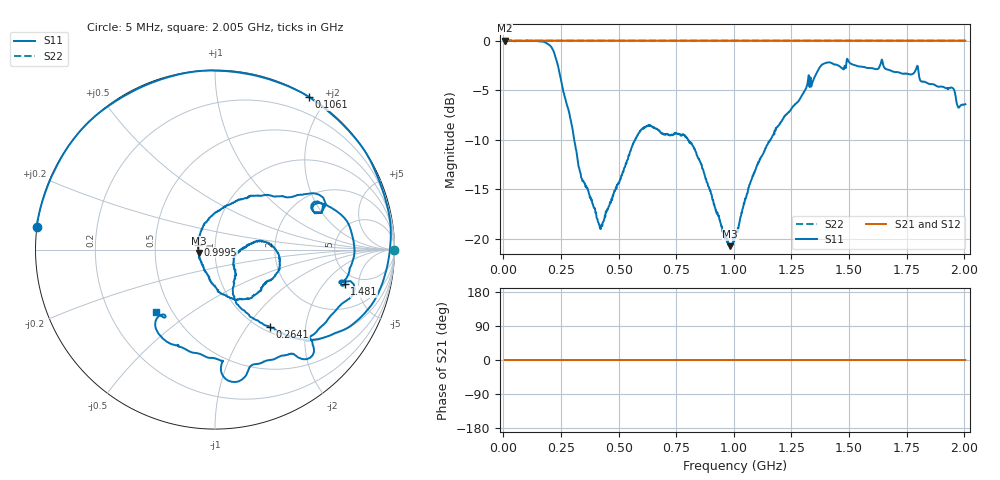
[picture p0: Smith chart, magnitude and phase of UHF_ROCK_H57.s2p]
!Keysight Technologies N9923A: A.08.09
!Date: Wednesday, 01 August 2018 08:10:12
!Timezone: (GMT+08:00) Kuala Lumpur, Singapore
!Model: N9923A
!Serial: MY52412143
!GPS Latitude:
!GPS Longitude:
!GPS TimeStamp: 0001-01-01 00:00:00Z
!GPS Seconds Since Last Read: 0
!CHECKSUM:1050662376
!Correction: S11(ON U)S21()S12()S22()
!S2P File: Measurements:S11,S21,S12,S22:
# Hz S DB R 50
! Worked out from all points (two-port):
!   2000 points, 5 MHz to 2.005 GHz, reference 50 ohm
!   highest |S21| = 0.00 dB at 5 MHz (marker M1); lowest = 0.0 dB at 5 MHz (marker M2)
!   |S21| within 3 dB of the highest: start of sweep to end of sweep
!   lowest |S11| = -20.7 dB at 983.5 MHz (marker M3), VSWR 1.20, Z = 41.7 - j1.55 ohm
!   |S11| at or under -10 dB: 307 MHz to 571.4 MHz (264.3 MHz wide, 60.2 % of centre); 801 MHz to 1.159 GHz (358.1 MHz wide, 36.5 % of centre)
!   |S22| runs from 0.0 to 0.0 dB; largest |S21 - S12| = 0
!   S11 on the Smith chart (normalised r, x): 5 MHz: -0.00, +0.06; 106.1 MHz: 0.00, +1.79; 264.1 MHz: 1.08, -1.30; 999.5 MHz: 0.83, +0.05; 1.481 GHz: 3.91, -3.36; 2.005 GHz: 0.41, -0.37
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5000000  0.02 172.8  0.00 0.0  0.00 0.0  0.00 0.0
5.402451e7  -0.05 108.9  0.00 0.0  0.00 0.0  0.00 0.0
1.060505e8  -0.01 58.3  0.00 0.0  0.00 0.0  0.00 0.0
1.440695e8  -0.03 29.3  0.00 0.0  0.00 0.0  0.00 0.0
1.840895e8  -0.22 0.4  0.00 0.0  0.00 0.0  0.00 0.0
2.271111e8  -1.78 -34.8  0.00 0.0  0.00 0.0  0.00 0.0
2.641296e8  -5.49 -54.6  0.00 0.0  0.00 0.0  0.00 0.0
3.391671e8  -13.87 -57.9  0.00 0.0  0.00 0.0  0.00 0.0
4.242096e8  -18.77 -17.8  0.00 0.0  0.00 0.0  0.00 0.0
5.862906e8  -9.34 -0.7  0.00 0.0  0.00 0.0  0.00 0.0
6.723337e8  -9.03 -28.2  0.00 0.0  0.00 0.0  0.00 0.0
8.214082e8  -10.60 -69.1  0.00 0.0  0.00 0.0  0.00 0.0
9.834892e8  -20.73 -168.5  0.00 0.0  0.00 0.0  0.00 0.0
9.994972e8  -20.10 163.7  0.00 0.0  0.00 0.0  0.00 0.0
1.0055e9  -19.75 157.3  0.00 0.0  0.00 0.0  0.00 0.0
1.182589e9  -8.89 56.1  0.00 0.0  0.00 0.0  0.00 0.0
1.338667e9  -4.41 24.2  0.00 0.0  0.00 0.0  0.00 0.0
1.398697e9  -2.26 4.4  0.00 0.0  0.00 0.0  0.00 0.0
1.480738e9  -2.53 -14.7  0.00 0.0  0.00 0.0  0.00 0.0
1.671833e9  -2.94 -55.2  0.00 0.0  0.00 0.0  0.00 0.0
1.794895e9  -2.60 -78.6  0.00 0.0  0.00 0.0  0.00 0.0
2.005e9  -6.41 -133.7  0.00 0.0  0.00 0.0  0.00 0.0
